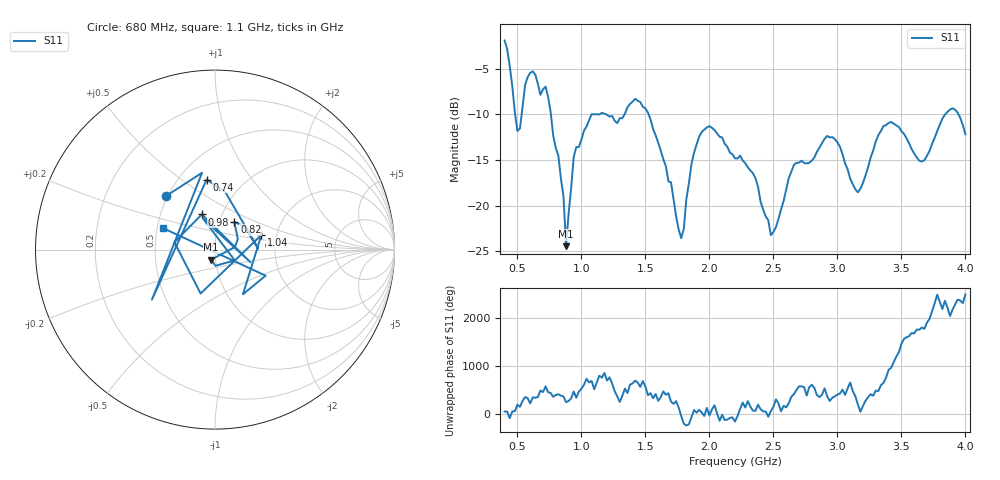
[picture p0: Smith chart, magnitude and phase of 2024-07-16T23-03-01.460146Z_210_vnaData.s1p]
!Created with skrf (http://scikit-rf.org).
# Hz S RI R 50.0
!freq ReS11 ImS11
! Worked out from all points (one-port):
!   181 points, 400 MHz to 4 GHz, reference 50 ohm
!   lowest |S11| = -24.4 dB at 880 MHz (marker M1), VSWR 1.13, Z = 47.6 - j5.38 ohm
!   |S11| at or under -10 dB: 761.7 MHz to 1.079 GHz (317.4 MHz wide, 34.5 % of centre); 1.194 GHz to 1.337 GHz (143.4 MHz wide, 11.3 % of centre); 1.525 GHz to 3.842 GHz (2.317 GHz wide, 86.3 % of centre) (the widest 3 of 6)
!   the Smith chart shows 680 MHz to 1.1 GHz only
!   S11 on the Smith chart (normalised r, x): 680 MHz: 0.49, +0.35; 740 MHz: 0.68, +0.63; 820 MHz: 1.18, +0.38; 980 MHz: 0.80, +0.33; 1.04 GHz: 1.66, +0.29; 1.1 GHz: 0.53, +0.14
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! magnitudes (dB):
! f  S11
! 400 MHz  -1.9
! 500 MHz  -11.8
! 600 MHz  -5.5
! 680 MHz  -7.9
! 740 MHz  -8.1
! 820 MHz  -14.5
! 860 MHz  -19.0
! 880 MHz  -24.4
! 940 MHz  -14.7
! 980 MHz  -13.6
! 1.04 GHz  -11.3
! 1.1 GHz  -10.0
! 1.3 GHz  -10.4
! 1.52 GHz  -9.8
! 1.76 GHz  -22.6
! 1.94 GHz  -11.9
! 2.2 GHz  -14.8
! 2.36 GHz  -17.0
! 2.48 GHz  -23.2
! 2.66 GHz  -15.5
! 2.96 GHz  -12.5
! 3.1 GHz  -17.0
! 3.18 GHz  -18.1
! 3.4 GHz  -10.9
! 3.56 GHz  -13.2
! 3.68 GHz  -15.0
! 3.9 GHz  -9.3
! 4 GHz  -12.2
